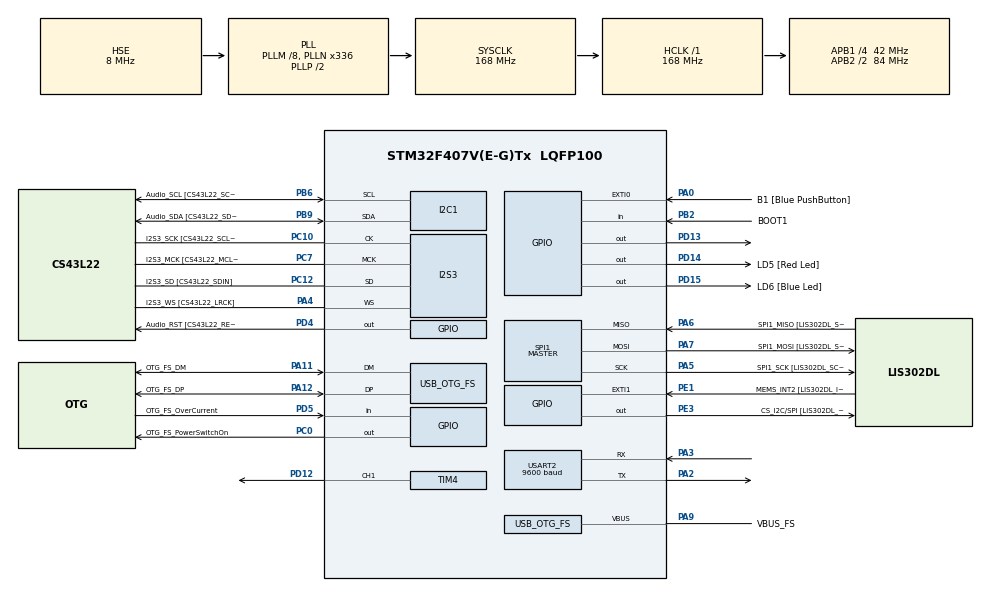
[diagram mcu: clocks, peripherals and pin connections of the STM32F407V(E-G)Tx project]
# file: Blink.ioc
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I2S3.AudioFreq-Half_Duplex_Master=I2S_AUDIOFREQ_96K
I2S3.ErrorAudioFreq=-2.34 %
I2S3.ErrorAudioFreq-Half_Duplex_Master=0.8 %
I2S3.FullDuplexMode=I2S_FULLDUPLEXMODE_DISABLE
I2S3.Instance=SPI$Index
I2S3.RealAudioFreq=93.75 KHz
I2S3.RealAudioFreq-Half_Duplex_Master=96.774 KHz
I2S3.VirtualMode=I2S_MODE_MASTER
Mcu.Family=STM32F4
Mcu.Name=STM32F407V(E-G)Tx
Mcu.Package=LQFP100
NVIC.OTG_FS_IRQn=true\:0\:0\:false\:false\:true\:true
NVIC.PriorityGroup=NVIC_PRIORITYGROUP_0
NVIC.TIM4_IRQn=true\:0\:0\:false\:false\:true\:true
NVIC.USART2_IRQn=true\:0\:0\:false\:false\:true\:true
PA0-WKUP.GPIO_Label=B1 [Blue PushButton]
PA0-WKUP.GPIO_ModeDefaultEXTI=GPIO_MODE_EVT_RISING
PA0-WKUP.GPIO_PuPd=GPIO_NOPULL
PA0-WKUP.Signal=GPXTI0
PA10.GPIO_Label=OTG_FS_ID
PA10.GPIO_Mode=GPIO_MODE_AF_PP
PA10.GPIO_PuPd=GPIO_NOPULL
PA10.GPIO_Speed=GPIO_SPEED_FREQ_LOW
PA10.Signal=USB_OTG_FS_ID
PA11.GPIO_Label=OTG_FS_DM
PA11.GPIO_Mode=GPIO_MODE_AF_PP
PA11.GPIO_PuPd=GPIO_NOPULL
PA11.GPIO_Speed=GPIO_SPEED_FREQ_LOW
PA11.Mode=Host_Only
PA11.Signal=USB_OTG_FS_DM
PA12.GPIO_Label=OTG_FS_DP
PA12.GPIO_Mode=GPIO_MODE_AF_PP
PA12.GPIO_PuPd=GPIO_NOPULL
PA12.GPIO_Speed=GPIO_SPEED_FREQ_LOW
PA12.Mode=Host_Only
PA12.Signal=USB_OTG_FS_DP
PA13.GPIO_Label=SWDIO
PA13.Mode=Serial_Wire
PA13.Signal=SYS_JTMS-SWDIO
PA14.GPIO_Label=SWCLK
PA14.Mode=Serial_Wire
PA14.Signal=SYS_JTCK-SWCLK
PA2.Mode=Asynchronous
PA2.Signal=USART2_TX
PA3.Mode=Asynchronous
PA3.Signal=USART2_RX
PA4.GPIO_Label=I2S3_WS [CS43L22_LRCK]
PA4.GPIO_Mode=GPIO_MODE_AF_PP
PA4.GPIO_PuPd=GPIO_NOPULL
PA4.GPIO_Speed=GPIO_SPEED_FREQ_LOW
PA4.Mode=Half_Duplex_Master
PA4.Signal=I2S3_WS
PA5.GPIO_Label=SPI1_SCK [LIS302DL_SCL/SPC]
PA5.GPIO_Mode=GPIO_MODE_AF_PP
PA5.GPIO_PuPd=GPIO_NOPULL
PA5.GPIO_Speed=GPIO_SPEED_FREQ_LOW
PA5.Mode=Full_Duplex_Master
PA5.Signal=SPI1_SCK
PA6.GPIO_Label=SPI1_MISO [LIS302DL_SDO]
PA6.GPIO_Mode=GPIO_MODE_AF_PP
PA6.GPIO_PuPd=GPIO_NOPULL
PA6.GPIO_Speed=GPIO_SPEED_FREQ_LOW
PA6.Mode=Full_Duplex_Master
PA6.Signal=SPI1_MISO
PA7.GPIO_Label=SPI1_MOSI [LIS302DL_SDA/SDI/SDO]
PA7.GPIO_Mode=GPIO_MODE_AF_PP
PA7.GPIO_PuPd=GPIO_NOPULL
PA7.GPIO_Speed=GPIO_SPEED_FREQ_LOW
PA7.Mode=Full_Duplex_Master
PA7.Signal=SPI1_MOSI
PA9.GPIO_Label=VBUS_FS
PA9.GPIO_Mode=GPIO_MODE_INPUT
PA9.GPIO_PuPd=GPIO_NOPULL
PA9.Mode=Activate_VBUS
PA9.Signal=USB_OTG_FS_VBUS
PB10.GPIO_Label=CLK_IN [MP45DT02_CLK]
PB10.GPIO_Mode=GPIO_MODE_AF_PP
PB10.GPIO_PuPd=GPIO_NOPULL
PB10.GPIO_Speed=GPIO_SPEED_FREQ_LOW
PB10.Signal=I2S2_CK
PB2.GPIO_Label=BOOT1
PB2.GPIO_Mode=GPIO_MODE_INPUT
PB2.GPIO_PuPd=GPIO_NOPULL
PB2.Signal=GPIO_Input
PB3.GPIO_Label=SWO
PB3.Signal=SYS_JTDO-SWO
PB6.GPIO_Label=Audio_SCL [CS43L22_SCL]
PB6.GPIO_Mode=GPIO_MODE_AF_OD
PB6.GPIO_PuPd=GPIO_NOPULL
PB6.GPIO_Speed=GPIO_SPEED_FREQ_LOW
PB6.Mode=I2C
PB6.Signal=I2C1_SCL
PB9.GPIO_Label=Audio_SDA [CS43L22_SDA]
PB9.GPIO_Mode=GPIO_MODE_AF_OD
PB9.GPIO_PuPd=GPIO_NOPULL
PB9.GPIO_Speed=GPIO_SPEED_FREQ_LOW
PB9.Mode=I2C
PB9.Signal=I2C1_SDA
PC0.GPIO_Label=OTG_FS_PowerSwitchOn
PC0.GPIO_PuPd=GPIO_NOPULL
PC0.GPIO_Speed=GPIO_SPEED_FREQ_LOW
PC0.PinState=GPIO_PIN_SET
PC0.Signal=GPIO_Output
PC10.GPIO_Label=I2S3_SCK [CS43L22_SCLK]
PC10.GPIO_Mode=GPIO_MODE_AF_PP
PC10.GPIO_PuPd=GPIO_NOPULL
PC10.GPIO_Speed=GPIO_SPEED_FREQ_LOW
PC10.Mode=Half_Duplex_Master
PC10.Signal=I2S3_CK
PC12.GPIO_Label=I2S3_SD [CS43L22_SDIN]
PC12.GPIO_Mode=GPIO_MODE_AF_PP
PC12.GPIO_PuPd=GPIO_NOPULL
PC12.GPIO_Speed=GPIO_SPEED_FREQ_LOW
PC12.Mode=Half_Duplex_Master
PC12.Signal=I2S3_SD
PC14-OSC32_IN.GPIO_Label=PC14-OSC32_IN
PC14-OSC32_IN.Mode=LSE-External-Oscillator
PC14-OSC32_IN.Signal=RCC_OSC32_IN
PC15-OSC32_OUT.GPIO_Label=PC15-OSC32_OUT
PC15-OSC32_OUT.Mode=LSE-External-Oscillator
PC15-OSC32_OUT.Signal=RCC_OSC32_OUT
PC3.GPIO_Label=PDM_OUT [MP45DT02_DOUT]
PC3.GPIO_Mode=GPIO_MODE_AF_PP
PC3.GPIO_PuPd=GPIO_NOPULL
PC3.GPIO_Speed=GPIO_SPEED_FREQ_LOW
PC3.Signal=I2S2_SD
PC7.GPIO_Label=I2S3_MCK [CS43L22_MCLK]
PC7.GPIO_Mode=GPIO_MODE_AF_PP
PC7.GPIO_PuPd=GPIO_NOPULL
PC7.GPIO_Speed=GPIO_SPEED_FREQ_LOW
PC7.Mode=Master_Clock_Activated
PC7.Signal=I2S3_MCK
PD12.Signal=S_TIM4_CH1
PD13.Signal=GPIO_Output
PD14.GPIO_Label=LD5 [Red Led]
PD14.GPIO_PuPd=GPIO_NOPULL
PD14.GPIO_Speed=GPIO_SPEED_FREQ_LOW
PD14.Signal=GPIO_Output
PD15.GPIO_Label=LD6 [Blue Led]
PD15.GPIO_PuPd=GPIO_NOPULL
PD15.GPIO_Speed=GPIO_SPEED_FREQ_LOW
PD15.Signal=GPIO_Output
PD4.GPIO_Label=Audio_RST [CS43L22_RESET]
PD4.GPIO_PuPd=GPIO_NOPULL
PD4.GPIO_Speed=GPIO_SPEED_FREQ_LOW
PD4.Signal=GPIO_Output
PD5.GPIO_Label=OTG_FS_OverCurrent
PD5.GPIO_Mode=GPIO_MODE_INPUT
PD5.GPIO_PuPd=GPIO_NOPULL
PD5.Signal=GPIO_Input
PE1.GPIO_Label=MEMS_INT2 [LIS302DL_INT2]
PE1.GPIO_ModeDefaultEXTI=GPIO_MODE_EVT_RISING
PE1.GPIO_PuPd=GPIO_NOPULL
PE1.Signal=GPXTI1
PE3.GPIO_Label=CS_I2C/SPI [LIS302DL_CS_I2C/SPI]
PE3.GPIO_PuPd=GPIO_NOPULL
PE3.GPIO_Speed=GPIO_SPEED_FREQ_LOW
PE3.Signal=GPIO_Output
PH0-OSC_IN.GPIO_Label=PH0-OSC_IN
PH0-OSC_IN.Mode=HSE-External-Oscillator
PH0-OSC_IN.Signal=RCC_OSC_IN
PH1-OSC_OUT.GPIO_Label=PH1-OSC_OUT
PH1-OSC_OUT.Mode=HSE-External-Oscillator
PH1-OSC_OUT.Signal=RCC_OSC_OUT
ProjectManager.HeapSize=0x200
ProjectManager.StackSize=0x400
ProjectManager.TargetToolchain=SW4STM32
RCC.48MHZClocksFreq_Value=48000000
RCC.AHBFreq_Value=168000000
RCC.APB1CLKDivider=RCC_HCLK_DIV4
RCC.APB1Freq_Value=42000000
RCC.APB1TimFreq_Value=84000000
RCC.APB2CLKDivider=RCC_HCLK_DIV2
RCC.APB2Freq_Value=84000000
RCC.APB2TimFreq_Value=168000000
RCC.CortexFreq_Value=168000000
RCC.HCLKFreq_Value=168000000
RCC.HSE_VALUE=8000000
RCC.HSI_VALUE=16000000
RCC.PLLM=8
RCC.PLLN=336
RCC.PLLQ=7
RCC.SYSCLKFreq_VALUE=168000000
RCC.SYSCLKSource=RCC_SYSCLKSOURCE_PLLCLK
RCC.VCOOutputFreq_Value=336000000
SH.S_TIM4_CH1.0=TIM4_CH1,PWM Generation1 CH1
SPI1.BaudRatePrescaler-Full_Duplex_Master=SPI_BAUDRATEPRESCALER_2
SPI1.CalculateBaudRate-Full_Duplex_Master=42.0 MBits/s
SPI1.Direction=SPI_DIRECTION_2LINES
SPI1.Mode=SPI_MODE_MASTER
SPI1.Mode-Full_Duplex_Master=SPI_MODE_MASTER
SPI1.VirtualType=VM_MASTER
TIM4.Channel-PWM\ Generation1\ CH1=TIM_CHANNEL_1
TIM4.Period=9999
TIM4.Prescaler=41
TIM4.Pulse-PWM\ Generation1\ CH1=5000
USART2.BaudRate=9600
USART2.VirtualMode=VM_ASYNC
USB_HOST.BSP.number=1
USB_HOST.USBH_HandleTypeDef-CDC_FS=hUsbHostFS
USB_HOST.VirtualModeFS=Cdc
USB_HOST0.BSP.STBoard=false
USB_HOST0.BSP.api=Unknown
USB_HOST0.BSP.i2caddr=0
USB_HOST0.BSP.i2creg=0
USB_HOST0.BSP.instance=PC0
USB_HOST0.BSP.ip=GPIO
USB_HOST0.BSP.mode=Output
USB_HOST0.BSP.name=Drive_VBUS_FS
USB_HOST0.BSP.solution=PC0
USB_OTG_FS.VirtualMode=Host_Only
USB_OTG_FS.phy_itface=HCD_PHY_EMBEDDED
VP_USB_HOST_VS_USB_HOST_CDC_FS.Mode=CDC_FS
board=STM32F4DISCOVERY

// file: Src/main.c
/* USER CODE BEGIN Header */
/**
  ******************************************************************************
  * @file           : main.c
  * @brief          : Main program body
  ******************************************************************************
  * This notice applies to any and all portions of this file
  * that are not between comment pairs USER CODE BEGIN and
  * USER CODE END. Other portions of this file, whether
  * inserted by the user or by software development tools
  * are owned by their respective copyright owners.
  *
  * Copyright (c) 2018 STMicroelectronics International N.V.
  * All rights reserved.
  *
  * Redistribution and use in source and binary forms, with or without
  * modification, are permitted, provided that the following conditions are met:
  *
  * 1. Redistribution of source code must retain the above copyright notice,
  *    this list of conditions and the following disclaimer.
  * 2. Redistributions in binary form must reproduce the above copyright notice,
  *    this list of conditions and the following disclaimer in the documentation
  *    and/or other materials provided with the distribution.
  * 3. Neither the name of STMicroelectronics nor the names of other
  *    contributors to this software may be used to endorse or promote products
  *    derived from this software without specific written permission.
  * 4. This software, including modifications and/or derivative works of this
  *    software, must execute solely and exclusively on microcontroller or
  *    microprocessor devices manufactured by or for STMicroelectronics.
  * 5. Redistribution and use of this software other than as permitted under
  *    this license is void and will automatically terminate your rights under
  *    this license.
  *
  * THIS SOFTWARE IS PROVIDED BY STMICROELECTRONICS AND CONTRIBUTORS "AS IS"
  * AND ANY EXPRESS, IMPLIED OR STATUTORY WARRANTIES, INCLUDING, BUT NOT
  * LIMITED TO, THE IMPLIED WARRANTIES OF MERCHANTABILITY, FITNESS FOR A
  * PARTICULAR PURPOSE AND NON-INFRINGEMENT OF THIRD PARTY INTELLECTUAL PROPERTY
  * RIGHTS ARE DISCLAIMED TO THE FULLEST EXTENT PERMITTED BY LAW. IN NO EVENT
  * SHALL STMICROELECTRONICS OR CONTRIBUTORS BE LIABLE FOR ANY DIRECT, INDIRECT,
  * INCIDENTAL, SPECIAL, EXEMPLARY, OR CONSEQUENTIAL DAMAGES (INCLUDING, BUT NOT
  * LIMITED TO, PROCUREMENT OF SUBSTITUTE GOODS OR SERVICES; LOSS OF USE, DATA,
  * OR PROFITS; OR BUSINESS INTERRUPTION) HOWEVER CAUSED AND ON ANY THEORY OF
  * LIABILITY, WHETHER IN CONTRACT, STRICT LIABILITY, OR TORT (INCLUDING
  * NEGLIGENCE OR OTHERWISE) ARISING IN ANY WAY OUT OF THE USE OF THIS SOFTWARE,
  * EVEN IF ADVISED OF THE POSSIBILITY OF SUCH DAMAGE.
  *
  ******************************************************************************
  */
/* USER CODE END Header */

#include "main.h"
#include "usb_host.h"

I2C_HandleTypeDef hi2c1;

I2S_HandleTypeDef hi2s3;

SPI_HandleTypeDef hspi1;

TIM_HandleTypeDef htim4;

UART_HandleTypeDef huart2;

void SystemClock_Config(void);
static void MX_GPIO_Init(void);
static void MX_I2C1_Init(void);
static void MX_I2S3_Init(void);
static void MX_SPI1_Init(void);
static void MX_USART2_UART_Init(void);
static void MX_TIM4_Init(void);
void MX_USB_HOST_Process(void);

/* USER CODE BEGIN 0 */
int max_lux = 1200;
int min_lux = 20;
char buf[20];
int duty = 5000, prev_error = 0, state = 0;
int manual = 50;
int setValue = 30;
int target;
const float kp = 0.8 ,ki = 0.0, kd = 0.2, k = -0.6;
float P,I = 0,D;

void HAL_UART_RxCpltCallback(UART_HandleTypeDef *huart){
	HAL_GPIO_TogglePin(GPIOD,1<<15);
	HAL_UART_Transmit(&huart2, buf, 7,100);
	state = buf[0]-'0';
	manual = (buf[1]-'0')*100 + (buf[2]-'0')*10 + (buf[3]-'0');
	setValue = (buf[4]-'0')*100 + (buf[5]-'0')*10 + (buf[6]-'0');
	HAL_UART_Receive_IT(&huart2, buf, 7);
}

void update_duty(int cur){
	duty = duty + pid(cur)*k;
}

int pid(int cur){
	int error = target - cur;
	P = error*kp;
	I += error*ki;
	D = (error-prev_error)*kd;
	prev_error = error;
	return P+I+D;
}

/* USER CODE END 0 */

int main(void)
{

  /* MCU Configuration--------------------------------------------------------*/

  /* Reset of all peripherals, Initializes the Flash interface and the Systick. */
  HAL_Init();

  /* Configure the system clock */
  SystemClock_Config();

  /* Initialize all configured peripherals */
  MX_GPIO_Init();
  MX_I2C1_Init();
  MX_I2S3_Init();
  MX_SPI1_Init();
  MX_USB_HOST_Init();
  MX_USART2_UART_Init();
  MX_TIM4_Init();
  /* USER CODE BEGIN 2 */
  HAL_UART_Init(&huart2);
  HAL_UART_Receive_IT(&huart2, buf, 7);
  HAL_TIM_PWM_Start(&htim4, TIM_CHANNEL_1);

  uint8_t command[] = {172};
  uint8_t cmd_start[] = {128, 3};
  // uint8_t command_val = 172;
  // command = command_val;

  HAL_I2C_Master_Transmit(&hi2c1, 57 << 1, cmd_start, 2, 1000); // Power on Lux Sensor

  /* USER CODE END 2 */

  /* Infinite loop */
  /* USER CODE BEGIN WHILE */
  while (1)
  {
	  // Read data from Lux sensor
	  char i2c_buffer[5];
	  char buffer[15];
	  int high,low;
	  HAL_I2C_Master_Transmit(&hi2c1, 57 << 1, command, 1, 1000);
	  if (HAL_I2C_Master_Receive(&hi2c1, 57 << 1, i2c_buffer, 2, 1000) == HAL_OK){
	       high = i2c_buffer[1] * 256;
	       low = i2c_buffer[0];
	       // sprintf(buffer, "%d\r\n", high + low);
	       // HAL_UART_Transmit(&huart2, buffer, strlen(buffer), 100);
	  }

	HAL_GPIO_TogglePin(GPIOD,1<<14);

	// Set duty cycle
	if(state == 0){// Manual mode
		duty = 9875 - (manual*88);
	}
	else if(state == 1){// Auto mode
		int cur_lux = high + low;
		target = setValue * (max_lux - min_lux)/100 + min_lux;
		update_duty(cur_lux);
	}

	if(duty > 9875)duty = 9875;
	if(duty < 1000)duty = 1000;
	__HAL_TIM_SET_COMPARE(&htim4, TIM_CHANNEL_1, duty);

	HAL_Delay(100);

    /* USER CODE END WHILE */
    MX_USB_HOST_Process();

  }
}

void SystemClock_Config(void)
{
  RCC_OscInitTypeDef RCC_OscInitStruct = {0};
  RCC_ClkInitTypeDef RCC_ClkInitStruct = {0};
  RCC_PeriphCLKInitTypeDef PeriphClkInitStruct = {0};

  /**Configure the main internal regulator output voltage
  */
  __HAL_RCC_PWR_CLK_ENABLE();
  __HAL_PWR_VOLTAGESCALING_CONFIG(PWR_REGULATOR_VOLTAGE_SCALE1);
  /**Initializes the CPU, AHB and APB busses clocks
  */
  RCC_OscInitStruct.OscillatorType = RCC_OSCILLATORTYPE_HSE;
  RCC_OscInitStruct.HSEState = RCC_HSE_ON;
  RCC_OscInitStruct.PLL.PLLState = RCC_PLL_ON;
  RCC_OscInitStruct.PLL.PLLSource = RCC_PLLSOURCE_HSE;
  RCC_OscInitStruct.PLL.PLLM = 8;
  RCC_OscInitStruct.PLL.PLLN = 336;
  RCC_OscInitStruct.PLL.PLLP = RCC_PLLP_DIV2;
  RCC_OscInitStruct.PLL.PLLQ = 7;
  if (HAL_RCC_OscConfig(&RCC_OscInitStruct) != HAL_OK)
  {
    Error_Handler();
  }
  /**Initializes the CPU, AHB and APB busses clocks
  */
  RCC_ClkInitStruct.ClockType = RCC_CLOCKTYPE_HCLK|RCC_CLOCKTYPE_SYSCLK
                              |RCC_CLOCKTYPE_PCLK1|RCC_CLOCKTYPE_PCLK2;
  RCC_ClkInitStruct.SYSCLKSource = RCC_SYSCLKSOURCE_PLLCLK;
  RCC_ClkInitStruct.AHBCLKDivider = RCC_SYSCLK_DIV1;
  RCC_ClkInitStruct.APB1CLKDivider = RCC_HCLK_DIV4;
  RCC_ClkInitStruct.APB2CLKDivider = RCC_HCLK_DIV2;

  if (HAL_RCC_ClockConfig(&RCC_ClkInitStruct, FLASH_LATENCY_5) != HAL_OK)
  {
    Error_Handler();
  }
  PeriphClkInitStruct.PeriphClockSelection = RCC_PERIPHCLK_I2S;
  PeriphClkInitStruct.PLLI2S.PLLI2SN = 192;
  PeriphClkInitStruct.PLLI2S.PLLI2SR = 2;
  if (HAL_RCCEx_PeriphCLKConfig(&PeriphClkInitStruct) != HAL_OK)
  {
    Error_Handler();
  }
}

static void MX_I2C1_Init(void)
{

  hi2c1.Instance = I2C1;
  hi2c1.Init.ClockSpeed = 100000;
  hi2c1.Init.DutyCycle = I2C_DUTYCYCLE_2;
  hi2c1.Init.OwnAddress1 = 0;
  hi2c1.Init.AddressingMode = I2C_ADDRESSINGMODE_7BIT;
  hi2c1.Init.DualAddressMode = I2C_DUALADDRESS_DISABLE;
  hi2c1.Init.OwnAddress2 = 0;
  hi2c1.Init.GeneralCallMode = I2C_GENERALCALL_DISABLE;
  hi2c1.Init.NoStretchMode = I2C_NOSTRETCH_DISABLE;
  if (HAL_I2C_Init(&hi2c1) != HAL_OK)
  {
    Error_Handler();
  }

}

static void MX_I2S3_Init(void)
{

  hi2s3.Instance = SPI3;
  hi2s3.Init.Mode = I2S_MODE_MASTER_TX;
  hi2s3.Init.Standard = I2S_STANDARD_PHILIPS;
  hi2s3.Init.DataFormat = I2S_DATAFORMAT_16B;
  hi2s3.Init.MCLKOutput = I2S_MCLKOUTPUT_ENABLE;
  hi2s3.Init.AudioFreq = I2S_AUDIOFREQ_96K;
  hi2s3.Init.CPOL = I2S_CPOL_LOW;
  hi2s3.Init.ClockSource = I2S_CLOCK_PLL;
  hi2s3.Init.FullDuplexMode = I2S_FULLDUPLEXMODE_DISABLE;
  if (HAL_I2S_Init(&hi2s3) != HAL_OK)
  {
    Error_Handler();
  }

}

static void MX_SPI1_Init(void)
{

  /* SPI1 parameter configuration*/
  hspi1.Instance = SPI1;
  hspi1.Init.Mode = SPI_MODE_MASTER;
  hspi1.Init.Direction = SPI_DIRECTION_2LINES;
  hspi1.Init.DataSize = SPI_DATASIZE_8BIT;
  hspi1.Init.CLKPolarity = SPI_POLARITY_LOW;
  hspi1.Init.CLKPhase = SPI_PHASE_1EDGE;
  hspi1.Init.NSS = SPI_NSS_SOFT;
  hspi1.Init.BaudRatePrescaler = SPI_BAUDRATEPRESCALER_2;
  hspi1.Init.FirstBit = SPI_FIRSTBIT_MSB;
  hspi1.Init.TIMode = SPI_TIMODE_DISABLE;
  hspi1.Init.CRCCalculation = SPI_CRCCALCULATION_DISABLE;
  hspi1.Init.CRCPolynomial = 10;
  if (HAL_SPI_Init(&hspi1) != HAL_OK)
  {
    Error_Handler();
  }

}

static void MX_TIM4_Init(void)
{

  TIM_MasterConfigTypeDef sMasterConfig = {0};
  TIM_OC_InitTypeDef sConfigOC = {0};

  htim4.Instance = TIM4;
  htim4.Init.Prescaler = 41;
  htim4.Init.CounterMode = TIM_COUNTERMODE_UP;
  htim4.Init.Period = 9999;
  htim4.Init.ClockDivision = TIM_CLOCKDIVISION_DIV1;
  if (HAL_TIM_PWM_Init(&htim4) != HAL_OK)
  {
    Error_Handler();
  }
  sMasterConfig.MasterOutputTrigger = TIM_TRGO_RESET;
  sMasterConfig.MasterSlaveMode = TIM_MASTERSLAVEMODE_DISABLE;
  if (HAL_TIMEx_MasterConfigSynchronization(&htim4, &sMasterConfig) != HAL_OK)
  {
    Error_Handler();
  }
  sConfigOC.OCMode = TIM_OCMODE_PWM1;
  sConfigOC.Pulse = 5000;
  sConfigOC.OCPolarity = TIM_OCPOLARITY_HIGH;
  sConfigOC.OCFastMode = TIM_OCFAST_DISABLE;
  if (HAL_TIM_PWM_ConfigChannel(&htim4, &sConfigOC, TIM_CHANNEL_1) != HAL_OK)
  {
    Error_Handler();
  }
  HAL_TIM_MspPostInit(&htim4);

}

static void MX_USART2_UART_Init(void)
{

  huart2.Instance = USART2;
  huart2.Init.BaudRate = 9600;
  huart2.Init.WordLength = UART_WORDLENGTH_8B;
  huart2.Init.StopBits = UART_STOPBITS_1;
  huart2.Init.Parity = UART_PARITY_NONE;
  huart2.Init.Mode = UART_MODE_TX_RX;
  huart2.Init.HwFlowCtl = UART_HWCONTROL_NONE;
  huart2.Init.OverSampling = UART_OVERSAMPLING_16;
  if (HAL_UART_Init(&huart2) != HAL_OK)
  {
    Error_Handler();
  }

}

static void MX_GPIO_Init(void)
{
  GPIO_InitTypeDef GPIO_InitStruct = {0};

  /* GPIO Ports Clock Enable */
  __HAL_RCC_GPIOE_CLK_ENABLE();
  __HAL_RCC_GPIOC_CLK_ENABLE();
  __HAL_RCC_GPIOH_CLK_ENABLE();
  __HAL_RCC_GPIOA_CLK_ENABLE();
  __HAL_RCC_GPIOB_CLK_ENABLE();
  __HAL_RCC_GPIOD_CLK_ENABLE();

  /*Configure GPIO pin Output Level */
  HAL_GPIO_WritePin(CS_I2C_SPI_GPIO_Port, CS_I2C_SPI_Pin, GPIO_PIN_RESET);

  /*Configure GPIO pin Output Level */
  HAL_GPIO_WritePin(OTG_FS_PowerSwitchOn_GPIO_Port, OTG_FS_PowerSwitchOn_Pin, GPIO_PIN_SET);

  /*Configure GPIO pin Output Level */
  HAL_GPIO_WritePin(GPIOD, GPIO_PIN_13|LD5_Pin|LD6_Pin|Audio_RST_Pin, GPIO_PIN_RESET);

  /*Configure GPIO pin : CS_I2C_SPI_Pin */
  GPIO_InitStruct.Pin = CS_I2C_SPI_Pin;
  GPIO_InitStruct.Mode = GPIO_MODE_OUTPUT_PP;
  GPIO_InitStruct.Pull = GPIO_NOPULL;
  GPIO_InitStruct.Speed = GPIO_SPEED_FREQ_LOW;
  HAL_GPIO_Init(CS_I2C_SPI_GPIO_Port, &GPIO_InitStruct);

  /*Configure GPIO pin : OTG_FS_PowerSwitchOn_Pin */
  GPIO_InitStruct.Pin = OTG_FS_PowerSwitchOn_Pin;
  GPIO_InitStruct.Mode = GPIO_MODE_OUTPUT_PP;
  GPIO_InitStruct.Pull = GPIO_NOPULL;
  GPIO_InitStruct.Speed = GPIO_SPEED_FREQ_LOW;
  HAL_GPIO_Init(OTG_FS_PowerSwitchOn_GPIO_Port, &GPIO_InitStruct);

  /*Configure GPIO pin : PDM_OUT_Pin */
  GPIO_InitStruct.Pin = PDM_OUT_Pin;
  GPIO_InitStruct.Mode = GPIO_MODE_AF_PP;
  GPIO_InitStruct.Pull = GPIO_NOPULL;
  GPIO_InitStruct.Speed = GPIO_SPEED_FREQ_LOW;
  GPIO_InitStruct.Alternate = GPIO_AF5_SPI2;
  HAL_GPIO_Init(PDM_OUT_GPIO_Port, &GPIO_InitStruct);

  /*Configure GPIO pin : B1_Pin */
  GPIO_InitStruct.Pin = B1_Pin;
  GPIO_InitStruct.Mode = GPIO_MODE_EVT_RISING;
  GPIO_InitStruct.Pull = GPIO_NOPULL;
  HAL_GPIO_Init(B1_GPIO_Port, &GPIO_InitStruct);

  /*Configure GPIO pin : BOOT1_Pin */
  GPIO_InitStruct.Pin = BOOT1_Pin;
  GPIO_InitStruct.Mode = GPIO_MODE_INPUT;
  GPIO_InitStruct.Pull = GPIO_NOPULL;
  HAL_GPIO_Init(BOOT1_GPIO_Port, &GPIO_InitStruct);

  /*Configure GPIO pin : CLK_IN_Pin */
  GPIO_InitStruct.Pin = CLK_IN_Pin;
  GPIO_InitStruct.Mode = GPIO_MODE_AF_PP;
  GPIO_InitStruct.Pull = GPIO_NOPULL;
  GPIO_InitStruct.Speed = GPIO_SPEED_FREQ_LOW;
  GPIO_InitStruct.Alternate = GPIO_AF5_SPI2;
  HAL_GPIO_Init(CLK_IN_GPIO_Port, &GPIO_InitStruct);

  /*Configure GPIO pins : PD13 LD5_Pin LD6_Pin Audio_RST_Pin */
  GPIO_InitStruct.Pin = GPIO_PIN_13|LD5_Pin|LD6_Pin|Audio_RST_Pin;
  GPIO_InitStruct.Mode = GPIO_MODE_OUTPUT_PP;
  GPIO_InitStruct.Pull = GPIO_NOPULL;
  GPIO_InitStruct.Speed = GPIO_SPEED_FREQ_LOW;
  HAL_GPIO_Init(GPIOD, &GPIO_InitStruct);

  /*Configure GPIO pin : OTG_FS_OverCurrent_Pin */
  GPIO_InitStruct.Pin = OTG_FS_OverCurrent_Pin;
  GPIO_InitStruct.Mode = GPIO_MODE_INPUT;
  GPIO_InitStruct.Pull = GPIO_NOPULL;
  HAL_GPIO_Init(OTG_FS_OverCurrent_GPIO_Port, &GPIO_InitStruct);

  /*Configure GPIO pin : MEMS_INT2_Pin */
  GPIO_InitStruct.Pin = MEMS_INT2_Pin;
  GPIO_InitStruct.Mode = GPIO_MODE_EVT_RISING;
  GPIO_InitStruct.Pull = GPIO_NOPULL;
  HAL_GPIO_Init(MEMS_INT2_GPIO_Port, &GPIO_InitStruct);

}

void Error_Handler(void)
{
}

/************************ (C) COPYRIGHT STMicroelectronics *****END OF FILE****/
